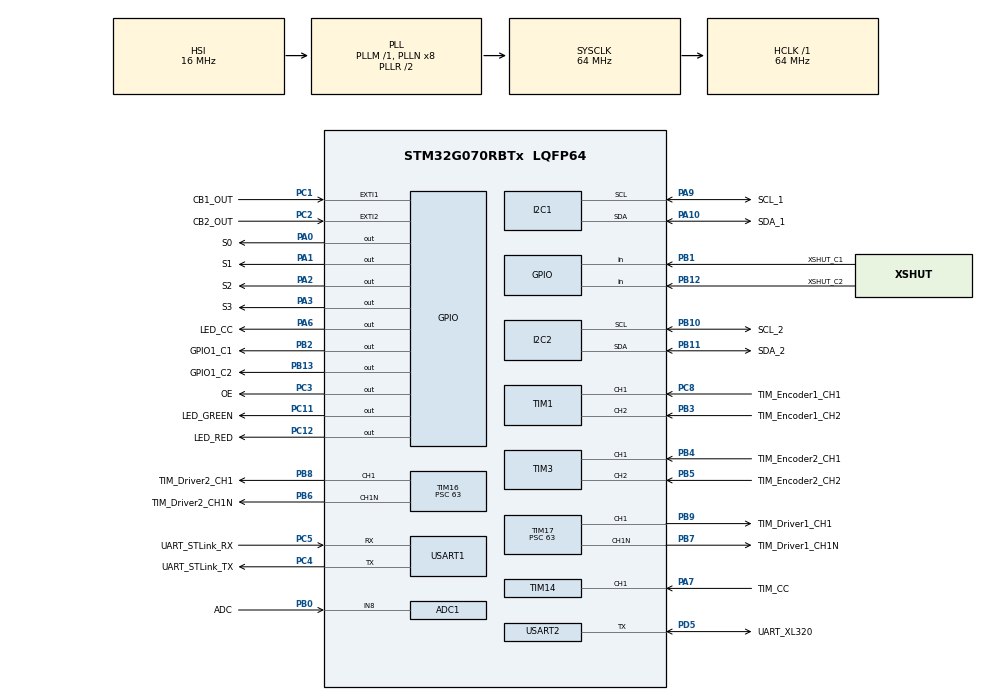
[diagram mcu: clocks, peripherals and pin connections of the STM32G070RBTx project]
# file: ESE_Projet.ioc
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ADC1.Channel-9\#ChannelRegularConversion=ADC_CHANNEL_8
ADC1.NbrOfConversionFlag=1
ADC1.Rank-9\#ChannelRegularConversion=1
ADC1.SamplingTime-9\#ChannelRegularConversion=ADC_SAMPLINGTIME_COMMON_1
ADC1.SelectedChannel=ADC_CHANNEL_8
ADC1.master=1
FREERTOS.Tasks01=defaultTask,0,128,StartDefaultTask,Default,NULL,Dynamic,NULL,NULL
FREERTOS.configTOTAL_HEAP_SIZE=30000
I2C1.Timing=0x10707DBC
I2C2.Timing=0x10707DBC
Mcu.Family=STM32G0
Mcu.Name=STM32G070RBTx
Mcu.Package=LQFP64
NVIC.EXTI0_1_IRQn=true\:3\:0\:false\:false\:true\:true\:true\:true\:true
NVIC.EXTI2_3_IRQn=true\:3\:0\:false\:false\:true\:true\:true\:true\:true
NVIC.USART1_IRQn=true\:3\:0\:false\:false\:true\:true\:true\:true\:true
PA0.GPIO_Label=S0
PA0.Signal=GPIO_Output
PA1.GPIO_Label=S1
PA1.Signal=GPIO_Output
PA10.GPIO_Label=SDA_1
PA10.Mode=I2C
PA10.Signal=I2C1_SDA
PA13.Mode=Serial_Wire
PA13.Signal=SYS_SWDIO
PA14-BOOT0.Mode=Serial_Wire
PA14-BOOT0.Signal=SYS_SWCLK
PA2.GPIO_Label=S2
PA2.Signal=GPIO_Output
PA3.GPIO_Label=S3
PA3.Signal=GPIO_Output
PA6.GPIO_Label=LED_CC
PA6.Signal=GPIO_Output
PA7.GPIO_Label=TIM_CC
PA7.Signal=S_TIM14_CH1
PA9.GPIO_Label=SCL_1
PA9.Mode=I2C
PA9.Signal=I2C1_SCL
PB0.GPIO_Label=ADC
PB0.Mode=IN8
PB0.Signal=ADC1_IN8
PB1.GPIO_Label=XSHUT_C1
PB1.GPIO_PuPd=GPIO_PULLDOWN
PB1.Signal=GPIO_Input
PB10.GPIO_Label=SCL_2
PB10.Mode=I2C
PB10.Signal=I2C2_SCL
PB11.GPIO_Label=SDA_2
PB11.Mode=I2C
PB11.Signal=I2C2_SDA
PB12.GPIO_Label=XSHUT_C2
PB12.Signal=GPIO_Input
PB13.GPIO_Label=GPIO1_C2
PB13.Signal=GPIO_Output
PB2.GPIO_Label=GPIO1_C1
PB2.Signal=GPIO_Output
PB3.GPIO_Label=TIM_Encoder1_CH2
PB3.Signal=S_TIM1_CH2
PB4.GPIO_Label=TIM_Encoder2_CH1
PB4.Signal=S_TIM3_CH1
PB5.GPIO_Label=TIM_Encoder2_CH2
PB5.Signal=S_TIM3_CH2
PB6.GPIO_Label=TIM_Driver2_CH1N
PB6.Mode=PWM Generation1 CH1 CH1N
PB6.Signal=TIM16_CH1N
PB7.GPIO_Label=TIM_Driver1_CH1N
PB7.Mode=PWM Generation1 CH1 CH1N
PB7.Signal=TIM17_CH1N
PB8.GPIO_Label=TIM_Driver2_CH1
PB8.Signal=S_TIM16_CH1
PB9.GPIO_Label=TIM_Driver1_CH1
PB9.Signal=S_TIM17_CH1
PC1.GPIO_Label=CB1_OUT
PC1.GPIO_ModeDefaultEXTI=GPIO_MODE_IT_RISING
PC1.Signal=GPXTI1
PC11.GPIO_Label=LED_GREEN
PC11.Signal=GPIO_Output
PC12.GPIO_Label=LED_RED
PC12.Signal=GPIO_Output
PC2.GPIO_Label=CB2_OUT
PC2.Signal=GPXTI2
PC3.GPIO_Label=OE
PC3.Signal=GPIO_Output
PC4.GPIO_Label=UART_STLink_TX
PC4.Mode=Asynchronous
PC4.Signal=USART1_TX
PC5.GPIO_Label=UART_STLink_RX
PC5.Mode=Asynchronous
PC5.Signal=USART1_RX
PC8.GPIO_Label=TIM_Encoder1_CH1
PC8.Signal=S_TIM1_CH1
PD5.GPIO_Label=UART_XL320
PD5.Mode=Half_duplex(single_wire_mode)
PD5.Signal=USART2_TX
PF0-OSC_IN\ (PF0).Mode=HSE-External-Oscillator
PF0-OSC_IN\ (PF0).Signal=RCC_OSC_IN
PF1-OSC_OUT\ (PF1).Mode=HSE-External-Oscillator
PF1-OSC_OUT\ (PF1).Signal=RCC_OSC_OUT
ProjectManager.HeapSize=0x200
ProjectManager.StackSize=0x400
ProjectManager.TargetToolchain=STM32CubeIDE
RCC.ADCFreq_Value=64000000
RCC.AHBFreq_Value=64000000
RCC.CortexFreq_Value=64000000
RCC.EXTERNAL_CLOCK_VALUE=48000
RCC.HCLKFreq_Value=64000000
RCC.HSE_VALUE=16000000
RCC.HSI_VALUE=16000000
RCC.LSE_VALUE=32768
RCC.SYSCLKFreq_VALUE=64000000
RCC.SYSCLKSource=RCC_SYSCLKSOURCE_PLLCLK
RCC.VCOOutputFreq_Value=128000000
SH.S_TIM14_CH1.0=TIM14_CH1,Input_Capture1_from_TI1
SH.S_TIM16_CH1.0=TIM16_CH1,PWM Generation1 CH1 CH1N
SH.S_TIM17_CH1.0=TIM17_CH1,PWM Generation1 CH1 CH1N
SH.S_TIM1_CH1.0=TIM1_CH1,Encoder_Interface
SH.S_TIM1_CH2.0=TIM1_CH2,Encoder_Interface
SH.S_TIM3_CH1.0=TIM3_CH1,Encoder_Interface
SH.S_TIM3_CH2.0=TIM3_CH2,Encoder_Interface
TIM14.Channel=TIM_CHANNEL_1
TIM16.Channel=TIM_CHANNEL_1
TIM16.DeadTime=203
TIM16.Period=1023
TIM16.Prescaler=63
TIM16.Pulse=500
TIM17.Channel=TIM_CHANNEL_1
TIM17.DeadTime=203
TIM17.Period=1023
TIM17.Prescaler=63
TIM17.Pulse=500
TIM3.EncoderMode=TIM_ENCODERMODE_TI12
USART1.VirtualMode-Asynchronous=VM_ASYNC
USART2.BaudRate=1000000
USART2.VirtualMode-Half_duplex(single_wire_mode)=VM_ASYNC
VP_FREERTOS_VS_CMSIS_V1.Mode=CMSIS_V1
VP_TIM14_VS_ClockSourceINT.Mode=Enable_Timer
VP_TIM16_VS_ClockSourceINT.Mode=Enable_Timer
VP_TIM17_VS_ClockSourceINT.Mode=Enable_Timer
board=custom

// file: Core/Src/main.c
/* USER CODE BEGIN Header */
/**
 ******************************************************************************
 * @file           : main.c
 * @brief          : Main program body
 ******************************************************************************
 * @attention
 *
 * Copyright (c) 2023 STMicroelectronics.
 * All rights reserved.
 *
 * This software is licensed under terms that can be found in the LICENSE file
 * in the root directory of this software component.
 * If no LICENSE file comes with this software, it is provided AS-IS.
 *
 ******************************************************************************
 */
/* USER CODE END Header */
#include "main.h"
#include "cmsis_os.h"
#include "adc.h"
#include "i2c.h"
#include "tim.h"
#include "usart.h"
#include "gpio.h"

/* USER CODE BEGIN Includes */
#include "XL320.h"
#include "stdio.h"
#include <stdlib.h>
#include "shell.h"
#include "drv_uart1.h"
#include "motor.h"
#include "encoder.h"
#include "vl53l0x_api.h"
#include "TOF.h"
#include "servomotor.h"
#include "demo.h"
/* USER CODE END Includes */

/* USER CODE BEGIN PD */
#define DEMO_STACK_SIZE 500
//#define TASK_SHELL_STACK_DEPTH 500
#define MOTOR_STACK_SIZE 500
#define ENCODER_STACK_SIZE 500
#define ENCODER_PRINT_STACK_SIZE 500
#define TOF_STACK_SIZE 500
#define SERVO_STACK_SIZE 500
#define BORDURE_STACK_SIZE 500
#define RECHERCHE_STACK_SIZE 500
#define TROUVE_STACK_SIZE 500
#define ATTRAPE_STACK_SIZE 500

#define DEMO_PRIORITY 1 //Mettre la priorité au plus bas si on veut utiliser le shell
//#define TASK_SHELL_PRIORITY 2
#define MOTOR_PRIORITY 10
#define ENCODER_PRIORITY 4
#define ENCODER_PRINT_PRIORITY 3
#define TOF_PRIORITY 8
#define SERVO_PRIORITY 7
#define BORDURE_PRIORITY 9
#define RECHERCHE_PRIORITY 6
#define TROUVE_PRIORITY 6
#define ATTRAPE_PRIORITY 6

/* USER CODE END PD */

/* USER CODE BEGIN PV */
extern TaskHandle_t h_motor;
//extern TaskHandle_t h_task_shell;
extern TaskHandle_t h_encoder;
extern TaskHandle_t h_encoder_print;
extern TaskHandle_t h_tof;
extern TaskHandle_t h_servomotor;
extern TaskHandle_t h_bordure;
extern TaskHandle_t h_recherche;
extern TaskHandle_t h_trouve;
extern TaskHandle_t h_attrape;

TaskHandle_t h_notif;
extern TaskHandle_t h_task_demo;

extern h_motor_t h_cmd_motor;
extern h_servomotor_t h_cmd_servomotor;
//static h_shell_t shell_funct1;
static h_demo_t demo_funct1;

extern h_asser_t asservissement_gauche;
extern h_asser_t asservissement_droit;

/* USER CODE END PV */

void SystemClock_Config(void);
void MX_FREERTOS_Init(void);
/* USER CODE BEGIN PFP */
void servo();
void clignote();
/* USER CODE END PFP */

/* USER CODE BEGIN 0 */
int __io_putchar(int ch){
	HAL_UART_Transmit(&huart1, (uint8_t*)&ch, 1, HAL_MAX_DELAY);
	return ch;
}

void HAL_UART_RxCpltCallback(UART_HandleTypeDef *huart)
{
	if (huart->Instance == USART1)
	{
		shell_uart_receive_irq_cb();
	}
}

int fonction(h_shell_t * pshell, int argc, char ** argv)
{
	printf("Je suis une fonction bidon\r\n");

	printf("argc = %d\r\n", argc);

	for (int i = 0 ; i < argc ; i++)
	{
		printf("arg %d = %s\r\n", i, argv[i]);
	}

	return 0;
}

int addition(h_shell_t *pshell, int argc, char ** argv)
{
	if (argc == 3)
	{
		int a, b;
		a = atoi(argv[1]);
		b = atoi(argv[2]);
		printf("%d + %d = %d\r\n", a, b, a+b);
		return 0;
	}
	else
	{
		printf("Erreur, pas le bon nombre d'arguments\r\n");
		return -1;
	}
}
/*
int servo_open(h_shell_t *pshell,int argc, char ** argv){
	open();
	return 0;
}
int servo_close(h_shell_t *pshell,int argc, char ** argv){
	close();
	return 0;
}
int servo_work(h_shell_t *pshell,int argc, char ** argv){
	servo();
	return 0;
}
int servo_speed(h_shell_t *pshell,int argc, char ** argv){
	int value=atoi(argv[1]);
	printf("La vitesse est de: %d sur 1023\r\n",value);
	speed(value);
	return 0;
}
 */

#if 0
void task_shell(void * unused)
{
	shell_init(&shell_funct1);
	shell_add(&shell_funct1,'f', fonction, "Une fonction inutile");
	shell_add(&shell_funct1,'a', addition, "Effectue une somme");

	shell_add(&shell_funct1,'d', moteurDroit, "Moteur droit");
	shell_add(&shell_funct1,'g', moteurGauche, "Moteur gauche");
	shell_add(&shell_funct1,'m', motor_shell, "Commande moteur");

	shell_add(&shell_funct1,'e', encoder_shell, "Active encodeur");

	//shell_add(&shell_funct1,'o',servo_open,"j'ouvre pince");
	//shell_add(&shell_funct1,'c',servo_close,"je ferme la pince");
	//shell_add(&shell_funct1,'w',servo_work,"ouvre_ferme");
	//shell_add(&shell_funct1,'s',servo_speed,"Speed");
	shell_add(&shell_funct1,'s',servo_shell,"Commande servomoteur");

	shell_add(&shell_funct1,'t',TOF_shell,"Active TOF");

	//shell_add(&shell_funct1,'l',led,"set la vitesse de clignotement");
	for(;;){
		shell_run(&shell_funct1); // boucle infinie
	}
}
#endif

void task_demo(void * unused)
{
	for(;;){
		demo_run(&demo_funct1); //boucle infinie
	}
}
/* USER CODE END 0 */

int main(void)
{

	/* MCU Configuration--------------------------------------------------------*/

	/* Reset of all peripherals, Initializes the Flash interface and the Systick. */
	HAL_Init();

	/* Configure the system clock */
	SystemClock_Config();

	/* Initialize all configured peripherals */
	MX_GPIO_Init();
	MX_I2C2_Init();
	MX_TIM1_Init();
	MX_TIM3_Init();
	MX_TIM14_Init();
	MX_USART1_UART_Init();
	MX_TIM16_Init();
	MX_I2C1_Init();
	MX_TIM17_Init();
	MX_USART2_UART_Init();
	MX_ADC1_Init();
	/* USER CODE BEGIN 2 */

	/*
	printf("coucou\r\n");
	if (xTaskCreate(task_shell, "Shell", TASK_SHELL_STACK_DEPTH, NULL, TASK_SHELL_PRIORITY, &h_task_shell) != pdPASS)
	{
		printf("Error creating task shell\r\n");
		//Error_Handler();
	}
	else{
		printf("C'est bon\r\n");
	}*/

	BaseType_t ret;
	ret = xTaskCreate(task_demo, "Demo", DEMO_STACK_SIZE,NULL, DEMO_PRIORITY,&h_task_demo);
	if (ret == errCOULD_NOT_ALLOCATE_REQUIRED_MEMORY){
		printf("Error creating task demo\r\n");
		Error_Handler();
	}
	printf("coucou task motor\r\n");
	ret = xTaskCreate(taskMotor,"Motor",MOTOR_STACK_SIZE,(void*)&h_cmd_motor, MOTOR_PRIORITY, &h_motor);
	if (ret == errCOULD_NOT_ALLOCATE_REQUIRED_MEMORY){
		printf("Error Task Motor\r\n");
		Error_Handler();
	}
	printf("bye bye task motor\r\n");
	printf("coucou task encoder\r\n");
	ret = xTaskCreate(taskEncoder,"Encoder",ENCODER_STACK_SIZE,NULL, ENCODER_PRIORITY, &h_encoder);
	if (ret == errCOULD_NOT_ALLOCATE_REQUIRED_MEMORY){
		printf("Error Task Encoder\r\n");
		Error_Handler();
	}
	printf("coucou task encoder\r\n");
	ret = xTaskCreate(taskEncoderPrint,"Encoder Print",ENCODER_PRINT_STACK_SIZE,NULL, ENCODER_PRINT_PRIORITY, &h_encoder_print);
	if (ret == errCOULD_NOT_ALLOCATE_REQUIRED_MEMORY){
		printf("Error Task Encoder Print\r\n");
		Error_Handler();
	}
	printf("coucou task TOF\r\n");
	ret = xTaskCreate(taskTOF,"TOF",TOF_STACK_SIZE,NULL,TOF_PRIORITY,&h_tof);
	if (ret == errCOULD_NOT_ALLOCATE_REQUIRED_MEMORY){
		printf("Error Task TOF\r\n");
		Error_Handler();
	}
	printf("bye bye task TOF\r\n");
	printf("coucou task servo\r\n");
	ret = xTaskCreate(taskServoMotor,"Servomoteur",SERVO_STACK_SIZE,(void*)&h_cmd_servomotor,SERVO_PRIORITY,&h_servomotor);
	if (ret == errCOULD_NOT_ALLOCATE_REQUIRED_MEMORY){
		printf("Error Task Servomotor\r\n");
		Error_Handler();
	}
	printf("bye bye task servo\r\n");
	printf("coucou task bordure\r\n");
	ret = xTaskCreate(taskBordure,"Bordure",BORDURE_STACK_SIZE,(void*)&h_cmd_motor,BORDURE_PRIORITY,&h_bordure);
	if (ret == errCOULD_NOT_ALLOCATE_REQUIRED_MEMORY){
		printf("Error Task Bordure\r\n");
		Error_Handler();
	}
	printf("bye bye task bordure\r\n");
	ret = xTaskCreate(taskRecherche,"Recherche",RECHERCHE_STACK_SIZE,(void*)&h_cmd_motor,RECHERCHE_PRIORITY,&h_recherche);
	if (ret == errCOULD_NOT_ALLOCATE_REQUIRED_MEMORY){
		printf("Error Task Recherche\r\n");
		Error_Handler();
	}
	printf("bye bye task Recherche\r\n");

	ret = xTaskCreate(taskTrouve,"Trouve",TROUVE_STACK_SIZE,(void*)&h_cmd_motor,TROUVE_PRIORITY,&h_trouve);
	if (ret == errCOULD_NOT_ALLOCATE_REQUIRED_MEMORY){
		printf("Error Task Trouve\r\n");
		Error_Handler();
	}
	printf("bye bye task Trouve\r\n");

	ret = xTaskCreate(taskAttrape,"Attrape",ATTRAPE_STACK_SIZE,(void*)&h_cmd_motor,ATTRAPE_PRIORITY,&h_attrape);
	if (ret == errCOULD_NOT_ALLOCATE_REQUIRED_MEMORY){
		printf("Error Task Attrape\r\n");
		Error_Handler();
	}
	printf("bye bye task Attrape\r\n");
	/* USER CODE END 2 */

	/* Call init function for freertos objects (in freertos.c) */
	MX_FREERTOS_Init();

	/* Start scheduler */
	osKernelStart();

	/* We should never get here as control is now taken by the scheduler */
	/* Infinite loop */
	while (1)
	{

	}
}

void SystemClock_Config(void)
{
	RCC_OscInitTypeDef RCC_OscInitStruct = {0};
	RCC_ClkInitTypeDef RCC_ClkInitStruct = {0};

	/** Configure the main internal regulator output voltage
	 */
	HAL_PWREx_ControlVoltageScaling(PWR_REGULATOR_VOLTAGE_SCALE1);

	/** Initializes the RCC Oscillators according to the specified parameters
	 * in the RCC_OscInitTypeDef structure.
	 */
	RCC_OscInitStruct.OscillatorType = RCC_OSCILLATORTYPE_HSI;
	RCC_OscInitStruct.HSIState = RCC_HSI_ON;
	RCC_OscInitStruct.HSIDiv = RCC_HSI_DIV1;
	RCC_OscInitStruct.HSICalibrationValue = RCC_HSICALIBRATION_DEFAULT;
	RCC_OscInitStruct.PLL.PLLState = RCC_PLL_ON;
	RCC_OscInitStruct.PLL.PLLSource = RCC_PLLSOURCE_HSI;
	RCC_OscInitStruct.PLL.PLLM = RCC_PLLM_DIV1;
	RCC_OscInitStruct.PLL.PLLN = 8;
	RCC_OscInitStruct.PLL.PLLP = RCC_PLLP_DIV2;
	RCC_OscInitStruct.PLL.PLLR = RCC_PLLR_DIV2;
	if (HAL_RCC_OscConfig(&RCC_OscInitStruct) != HAL_OK)
	{
		Error_Handler();
	}

	/** Initializes the CPU, AHB and APB buses clocks
	 */
	RCC_ClkInitStruct.ClockType = RCC_CLOCKTYPE_HCLK|RCC_CLOCKTYPE_SYSCLK
			|RCC_CLOCKTYPE_PCLK1;
	RCC_ClkInitStruct.SYSCLKSource = RCC_SYSCLKSOURCE_PLLCLK;
	RCC_ClkInitStruct.AHBCLKDivider = RCC_SYSCLK_DIV1;
	RCC_ClkInitStruct.APB1CLKDivider = RCC_HCLK_DIV1;

	if (HAL_RCC_ClockConfig(&RCC_ClkInitStruct, FLASH_LATENCY_2) != HAL_OK)
	{
		Error_Handler();
	}
}

/* USER CODE BEGIN 4 */
void HAL_GPIO_EXTI_Rising_Callback(uint16_t GPIO_Pin){
	//HAL_UART_Transmit(&huart1, "Stop\r\n", 8, HAL_MAX_DELAY);
	xTaskNotifyGive(h_bordure);
	//vTaskResume(h_motor);
}
/* USER CODE END 4 */

void Error_Handler(void)
{
	__disable_irq();
	while (1)
	{
	}
}
